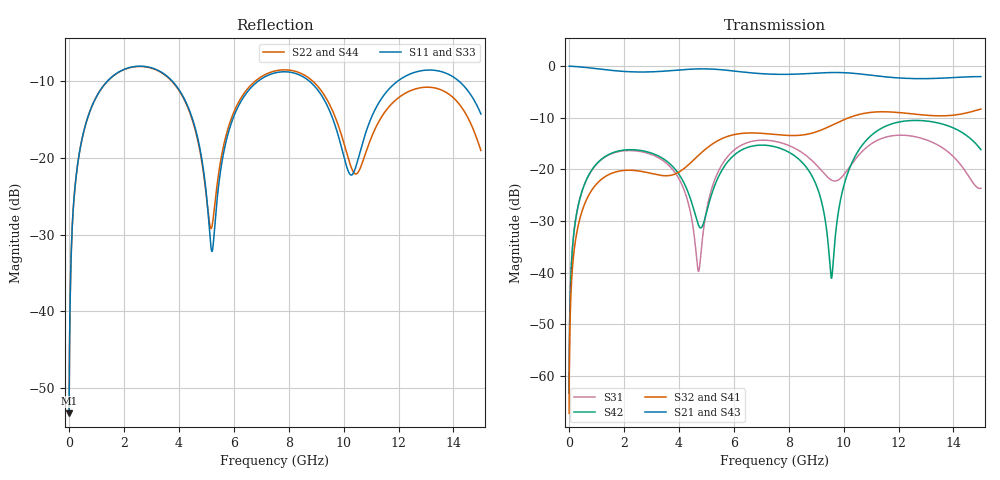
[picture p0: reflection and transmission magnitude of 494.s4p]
! Created with skrf 1.8.0 (http://scikit-rf.org).
# GHz S RI R 50.0
!freq ReS11 ImS11 ReS12 ImS12 ReS13 ImS13
! ReS14 ImS14
! ReS21 ImS21 ReS22 ImS22 ReS23 ImS23
! ReS24 ImS24
! ReS31 ImS31 ReS32 ImS32 ReS33 ImS33
! ReS34 ImS34
! ReS41 ImS41 ReS42 ImS42 ReS43 ImS43
! ReS44 ImS44
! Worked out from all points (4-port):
!   2499 points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, 5 MHz to 15 GHz, reference 50 ohm
!   strongest paths, dB at 5 MHz, 3.476 GHz, 7.19 GHz, 11.1 GHz, 15 GHz:
!     S21: 0.0, -1.0, -1.5, -1.8, -2.0
!     S43: 0.0, -1.0, -1.5, -1.8, -2.0
!     S32: -67.2, -21.2, -13.1, -8.9, -8.3
!     S41: -67.2, -21.3, -13.1, -8.9, -8.4
!     S42: -63.3, -18.1, -15.3, -13.0, -16.2
!     S31: -63.3, -18.5, -14.4, -14.8, -23.7
!   lowest |S11| = -53.3 dB at 5 MHz (marker M1), VSWR 1.00, Z = 50.2 + j0.132 ohm
!   |S11| at or under -10 dB: start of sweep to 1.404 GHz; 3.758 GHz to 6.894 GHz (3.136 GHz wide, 58.9 % of centre); 8.748 GHz to 11.98 GHz (3.228 GHz wide, 31.1 % of centre) (the widest 3 of 4)
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0.005  0.00173 0.00132  0.9982 -0.00337  8.68e-05 0.000677  -8.44e-05 -0.000426
       0.9982 -0.00337  0.00173 0.00132  -8.44e-05 -0.000426  8.69e-05 0.000677
       8.68e-05 0.000677  -8.44e-05 -0.000426  0.00173 0.00132  0.9982 -0.00337
       -8.44e-05 -0.000426  8.69e-05 0.000677  0.9982 -0.00337  0.00173 0.00132
0.3126303  0.0263 0.0861  0.9641 -0.2089  0.0118 0.04  -0.01 -0.0248
           0.9641 -0.2089  0.0263 0.0861  -0.01 -0.0248  0.0122 0.0399
           0.0118 0.04  -0.01 -0.0248  0.0263 0.0861  0.9641 -0.2089
           -0.01 -0.0248  0.0122 0.0399  0.9641 -0.2089  0.0263 0.0861
1.519383  0.2816 0.1744  0.5271 -0.7424  0.1271 0.0604  -0.0906 -0.00276
          0.5271 -0.7424  0.28 0.1756  -0.0907 -0.00262  0.1316 0.054
          0.1271 0.0604  -0.0907 -0.00262  0.2816 0.1745  0.5271 -0.7423
          -0.0906 -0.00276  0.1316 0.054  0.5271 -0.7423  0.2801 0.1755
5.027095  0.0273 -0.0447  -0.9261 -0.1578  0.0144 0.0401  -0.0252 0.1593
          -0.9261 -0.1578  0.0367 -0.0362  -0.023 0.1596  -0.0243 0.0317
          0.0144 0.0401  -0.023 0.1596  0.0282 -0.045  -0.926 -0.158
          -0.0252 0.1593  -0.0243 0.0317  -0.926 -0.158  0.0359 -0.0366
7.99083  0.3615 -0.0209  -0.0195 0.8318  0.1365 -0.1029  0.2048 -0.0542
         -0.0195 0.8318  0.3717 -0.0305  0.2047 -0.0589  0.1345 -0.0604
         0.1365 -0.1029  0.2047 -0.0589  0.3611 -0.0213  -0.0194 0.8317
         0.2048 -0.0542  0.1345 -0.0604  -0.0194 0.8317  0.3726 -0.0301
9.560233  0.141 -0.1256  0.6761 0.542  -0.0646 -0.0448  0.1642 -0.2095
          0.6761 0.542  0.1502 -0.1462  0.1588 -0.2138  -0.00864 -0.00178
          -0.0646 -0.0448  0.1588 -0.2138  0.1421 -0.1277  0.6754 0.5421
          0.1642 -0.2095  -0.00864 -0.00178  0.6754 0.5421  0.1523 -0.1474
15  0.1042 -0.1624  -0.627 -0.4821  0.0646 0.011  -0.227 0.3071
    -0.627 -0.4821  0.1028 -0.0439  -0.2126 0.3194  -0.0743 -0.1363
    0.0646 0.011  -0.2126 0.3194  0.0984 -0.1521  -0.6313 -0.4794
    -0.227 0.3071  -0.0743 -0.1363  -0.6313 -0.4794  0.0905 -0.0415
